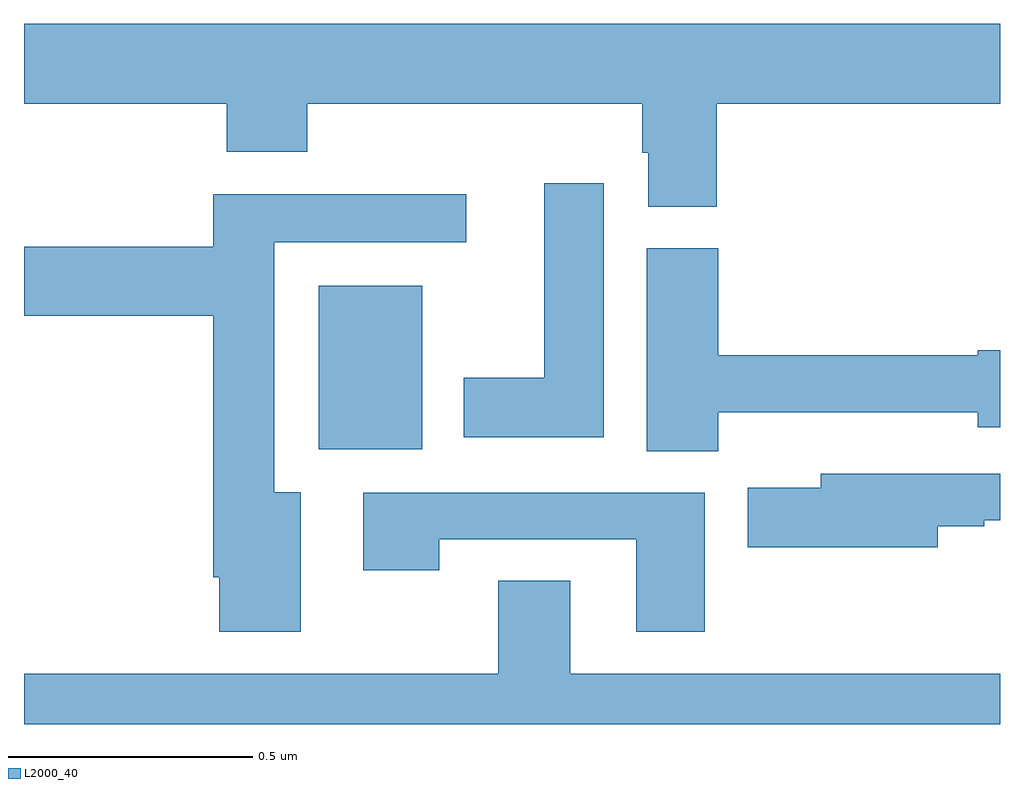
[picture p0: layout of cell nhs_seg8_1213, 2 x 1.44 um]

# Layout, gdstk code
import gdstk
lib = gdstk.Library(unit=1e-6, precision=1e-09)
def R(c, l, rs):  # rectangles x0, y0, x1, y1
    for r in rs: c.add(gdstk.rectangle(r[:2], r[2:], *l))
def P(c, l, *ps):  # polygons
    for p in ps: c.add(gdstk.Polygon(p, *l))
L2000_40 = (2000, 40)

nhs_seg8_1213 = lib.new_cell('nhs_seg8_1213')
R(nhs_seg8_1213, L2000_40, [(127.604,1110.464,127.816,1110.799)])
P(nhs_seg8_1213, L2000_40, [(128.42,1111.172),(129,1111.172),(129,1111.336),(127,1111.336),(127,1111.172),(127.415,1111.172),(127.415,1111.073),(127.58,1111.073),(127.58,1111.172),(128.267,1111.172),(128.267,1111.071),(128.279,1111.071),(128.279,1110.961),(128.42,1110.961)],
  [(128.188,1111.009),(128.066,1111.009),(128.066,1110.61),(127.901,1110.61),(127.901,1110.488),(128.188,1110.488)],
  [(127.567,1110.376),(127.513,1110.376),(127.513,1110.888),(127.906,1110.888),(127.906,1110.986),(127.388,1110.986),(127.388,1110.879),(127,1110.879),(127,1110.737),(127.388,1110.737),(127.388,1110.202),(127.4,1110.202),(127.4,1110.09),(127.567,1110.09)],
  [(128.423,1110.54),(128.954,1110.54),(128.954,1110.509),(129,1110.509),(129,1110.667),(128.954,1110.667),(128.954,1110.656),(128.423,1110.656),(128.423,1110.876),(128.276,1110.876),(128.276,1110.46),(128.423,1110.46)],
  [(128.872,1110.306),(128.968,1110.306),(128.968,1110.318),(129,1110.318),(129,1110.414),(128.633,1110.414),(128.633,1110.385),(128.483,1110.385),(128.483,1110.263),(128.872,1110.263)],
  [(128.395,1110.375),(127.695,1110.375),(127.695,1110.216),(127.851,1110.216),(127.851,1110.279),(128.255,1110.279),(128.255,1110.09),(128.395,1110.09)],
  [(129,1110.004),(128.119,1110.004),(128.119,1110.194),(127.972,1110.194),(127.972,1110.004),(127,1110.004),(127,1109.9),(129,1109.9)])

lib.write_gds('nhs_seg8_1213.gds')
